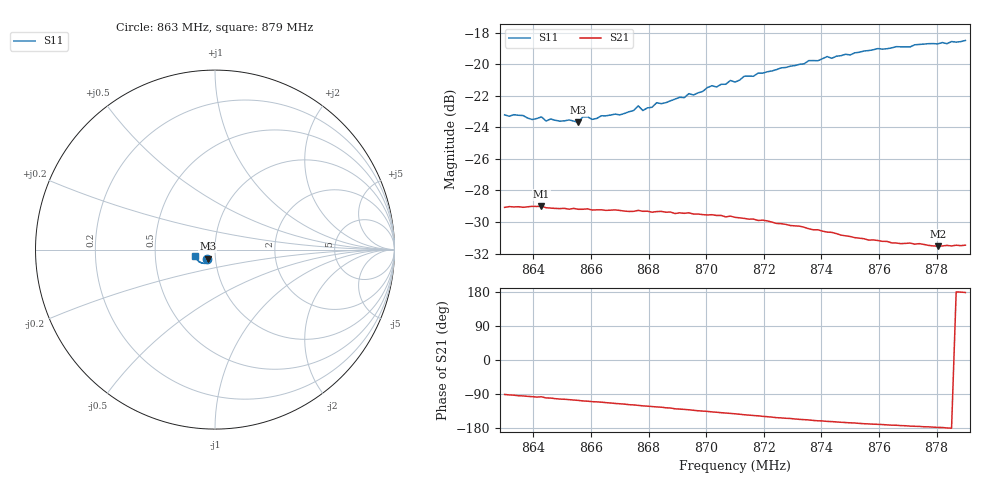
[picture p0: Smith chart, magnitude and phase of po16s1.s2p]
# HZ S RI R 50
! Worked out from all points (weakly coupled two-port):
!   101 points, 863 MHz to 879 MHz, reference 50 ohm
!   highest |S21| = -29.00 dB at 864.28 MHz (marker M1); lowest = -31.5 dB at 878.04 MHz (marker M2)
!   lowest |S11| = -23.7 dB at 865.56 MHz (marker M3), VSWR 1.14, Z = 45.8 - j4.7 ohm
!   |S11| at or under -10 dB: start of sweep to end of sweep
!   S12 and S22 are empty: the file has one direction only
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8.63e8  -0.0434 -0.0537  -0.000577 -0.0352  0 0  0 0
8.6364e8  -0.0421 -0.0543  -0.00295 -0.0351  0 0  0 0
8.6396e8  -0.0399 -0.0535  -0.00418 -0.0352  0 0  0 0
8.6428e8  -0.038 -0.0564  -0.00441 -0.0352  0 0  0 0
8.6444e8  -0.0383 -0.0538  -0.00619 -0.0345  0 0  0 0
8.6556e8  -0.0409 -0.051  -0.00993 -0.0332  0 0  0 0
8.6572e8  -0.0361 -0.0578  -0.0107 -0.033  0 0  0 0
8.6604e8  -0.0344 -0.0573  -0.0118 -0.0324  0 0  0 0
8.67e8  -0.0339 -0.0602  -0.0148 -0.031  0 0  0 0
8.6764e8  -0.0366 -0.0641  -0.0171 -0.0299  0 0  0 0
8.678e8  -0.0357 -0.0617  -0.0176 -0.0293  0 0  0 0
8.6828e8  -0.0353 -0.0667  -0.019 -0.0283  0 0  0 0
8.6844e8  -0.0359 -0.0658  -0.0194 -0.0281  0 0  0 0
8.694e8  -0.039 -0.0706  -0.0223 -0.0254  0 0  0 0
8.6956e8  -0.0388 -0.0698  -0.0227 -0.0246  0 0  0 0
8.702e8  -0.0435 -0.0735  -0.0244 -0.0228  0 0  0 0
8.71e8  -0.0466 -0.0743  -0.0258 -0.0201  0 0  0 0
8.7132e8  -0.0496 -0.0769  -0.0264 -0.0188  0 0  0 0
8.7372e8  -0.069 -0.076  -0.028 -0.0105  0 0  0 0
8.7644e8  -0.0938 -0.0623  -0.0269 -0.00381  0 0  0 0
8.7804e8  -0.1052 -0.0486  -0.0265 -0.000947  0 0  0 0
8.79e8  -0.1125 -0.0384  -0.0267 0.000877  0 0  0 0
